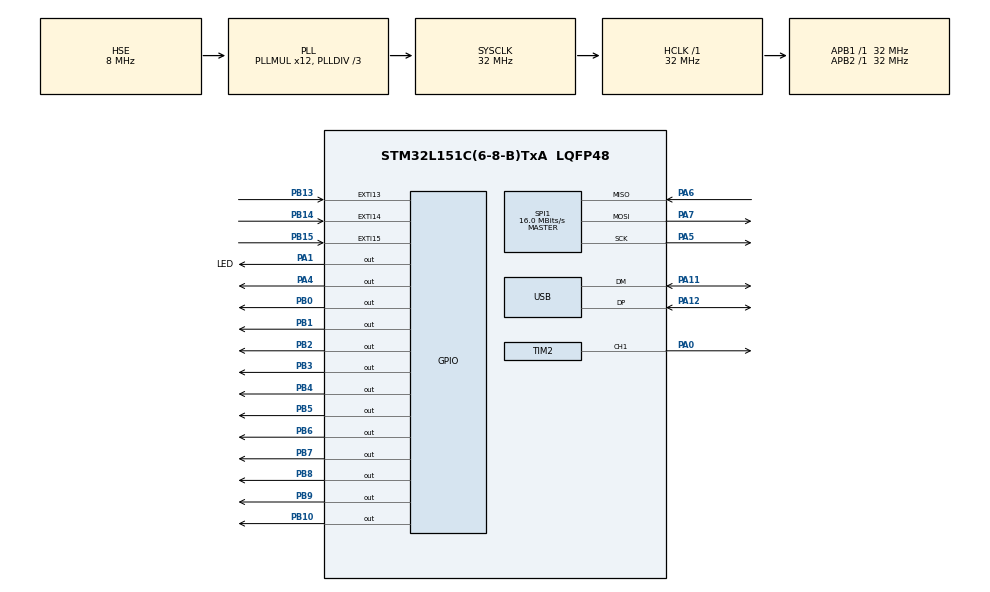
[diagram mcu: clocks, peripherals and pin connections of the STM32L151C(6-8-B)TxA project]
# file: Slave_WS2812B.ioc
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Dma.Request0=TIM2_CH1
Dma.TIM2_CH1.0.Direction=DMA_MEMORY_TO_PERIPH
Dma.TIM2_CH1.0.Instance=DMA1_Channel5
Dma.TIM2_CH1.0.MemDataAlignment=DMA_MDATAALIGN_HALFWORD
Dma.TIM2_CH1.0.MemInc=DMA_MINC_ENABLE
Dma.TIM2_CH1.0.Mode=DMA_NORMAL
Dma.TIM2_CH1.0.PeriphDataAlignment=DMA_PDATAALIGN_HALFWORD
Dma.TIM2_CH1.0.PeriphInc=DMA_PINC_DISABLE
Dma.TIM2_CH1.0.Priority=DMA_PRIORITY_LOW
Mcu.Family=STM32L1
Mcu.Name=STM32L151C(6-8-B)TxA
Mcu.Package=LQFP48
NVIC.DMA1_Channel5_IRQn=true\:0\:0\:false\:false\:true\:false\:true
NVIC.EXTI15_10_IRQn=true\:0\:0\:false\:false\:true\:true\:true
NVIC.PriorityGroup=NVIC_PRIORITYGROUP_4
NVIC.TIM11_IRQn=true\:1\:0\:true\:false\:true\:true\:true
NVIC.USB_LP_IRQn=true\:0\:0\:false\:false\:true\:false\:true
PA0-WKUP1.Signal=S_TIM2_CH1_ETR
PA1.GPIO_Label=LED
PA1.Signal=GPIO_Output
PA11.Mode=Device
PA11.Signal=USB_DM
PA12.Mode=Device
PA12.Signal=USB_DP
PA13.Mode=Serial_Wire
PA13.Signal=SYS_JTMS-SWDIO
PA14.Mode=Serial_Wire
PA14.Signal=SYS_JTCK-SWCLK
PA4.GPIO_Speed=GPIO_SPEED_FREQ_VERY_HIGH
PA4.Signal=GPIO_Output
PA5.Mode=Full_Duplex_Master
PA5.Signal=SPI1_SCK
PA6.Mode=Full_Duplex_Master
PA6.Signal=SPI1_MISO
PA7.Mode=Full_Duplex_Master
PA7.Signal=SPI1_MOSI
PB0.GPIO_Speed=GPIO_SPEED_FREQ_VERY_HIGH
PB0.Signal=GPIO_Output
PB1.GPIO_Speed=GPIO_SPEED_FREQ_VERY_HIGH
PB1.Signal=GPIO_Output
PB10.GPIO_Speed=GPIO_SPEED_FREQ_VERY_HIGH
PB10.Signal=GPIO_Output
PB13.GPIO_PuPd=GPIO_PULLDOWN
PB13.Signal=GPXTI13
PB14.GPIO_PuPd=GPIO_PULLDOWN
PB14.Signal=GPXTI14
PB15.GPIO_PuPd=GPIO_PULLDOWN
PB15.Signal=GPXTI15
PB2.GPIO_Speed=GPIO_SPEED_FREQ_VERY_HIGH
PB2.Signal=GPIO_Output
PB3.GPIO_Speed=GPIO_SPEED_FREQ_VERY_HIGH
PB3.Signal=GPIO_Output
PB4.GPIO_Speed=GPIO_SPEED_FREQ_VERY_HIGH
PB4.Signal=GPIO_Output
PB5.GPIO_Speed=GPIO_SPEED_FREQ_VERY_HIGH
PB5.Signal=GPIO_Output
PB6.GPIO_Speed=GPIO_SPEED_FREQ_VERY_HIGH
PB6.Signal=GPIO_Output
PB7.GPIO_Speed=GPIO_SPEED_FREQ_VERY_HIGH
PB7.Signal=GPIO_Output
PB8.GPIO_Speed=GPIO_SPEED_FREQ_VERY_HIGH
PB8.Signal=GPIO_Output
PB9.GPIO_Speed=GPIO_SPEED_FREQ_VERY_HIGH
PB9.PinState=GPIO_PIN_SET
PB9.Signal=GPIO_Output
PC14-OSC32_IN.Mode=LSE-External-Oscillator
PC14-OSC32_IN.Signal=RCC_OSC32_IN
PC15-OSC32_OUT.Mode=LSE-External-Oscillator
PC15-OSC32_OUT.Signal=RCC_OSC32_OUT
PH0-OSC_IN.Mode=HSE-External-Oscillator
PH0-OSC_IN.Signal=RCC_OSC_IN
PH1-OSC_OUT.Mode=HSE-External-Oscillator
PH1-OSC_OUT.Signal=RCC_OSC_OUT
ProjectManager.HeapSize=0x200
ProjectManager.StackSize=0x400
ProjectManager.TargetToolchain=MDK-ARM V5.27
RCC.48MHZClocksFreq_Value=48000000
RCC.AHBFreq_Value=32000000
RCC.APB1Freq_Value=32000000
RCC.APB1TimFreq_Value=32000000
RCC.APB2Freq_Value=32000000
RCC.APB2TimFreq_Value=32000000
RCC.HCLKFreq_Value=32000000
RCC.HSE_VALUE=8000000
RCC.HSI_VALUE=16000000
RCC.MSI_VALUE=2097000
RCC.PLLDIV=RCC_PLL_DIV3
RCC.PLLMUL=RCC_PLL_MUL12
RCC.SYSCLKFreq_VALUE=32000000
RCC.SYSCLKSource=RCC_SYSCLKSOURCE_PLLCLK
RCC.VCOOutputFreq_Value=96000000
SH.S_TIM2_CH1_ETR.0=TIM2_CH1,PWM Generation1 CH1
SPI1.CalculateBaudRate=16.0 MBits/s
SPI1.Direction=SPI_DIRECTION_2LINES
SPI1.Mode=SPI_MODE_MASTER
SPI1.VirtualType=VM_MASTER
TIM11.AutoReloadPreload=TIM_AUTORELOAD_PRELOAD_ENABLE
TIM11.Period=1000
TIM11.Prescaler=32000-1
TIM2.Channel-PWM\ Generation1\ CH1=TIM_CHANNEL_1
TIM2.Period=40-1
USB_DEVICE.CLASS_NAME_FS=CDC
USB_DEVICE.VirtualMode=Cdc
USB_DEVICE.VirtualModeFS=Cdc_FS
VP_TIM11_VS_ClockSourceINT.Mode=Internal
VP_USB_DEVICE_VS_USB_DEVICE_CDC_FS.Mode=CDC_FS
board=custom

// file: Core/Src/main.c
/* USER CODE BEGIN Header */
/**
  ******************************************************************************
  * @file           : main.c
  * @brief          : Main program body
  ******************************************************************************
  * @attention
  *
  * <h2><center>&copy; Copyright (c) 2020 STMicroelectronics.
  * All rights reserved.</center></h2>
  *
  * This software component is licensed by ST under Ultimate Liberty license
  * SLA0044, the "License"; You may not use this file except in compliance with
  * the License. You may obtain a copy of the License at:
  *                             www.st.com/SLA0044
  *
  ******************************************************************************
  */
/* USER CODE END Header */

#include "main.h"
#include "usb_device.h"

/* USER CODE BEGIN Includes */
#include <stdio.h>
#include <stdint.h>
#include <stdbool.h>
#include <string.h>
//#include "usbd_cdc_if.h"
#include "SX127X_Driver.h"
//#include "lcd.h"
//#include "gui.h"
//#include "dht11.h"
#include "colorset.h"
#include "ws2812b.h"
/* USER CODE END Includes */

/* USER CODE BEGIN PM */
enum DemoInternalStates
{
  APP_RNG = 0, // nothing to do (or wait a radio interrupt)
  RX_DONE,
  TX_DONE,
  TX_ING,
  APP_IDLE,
};
/* USER CODE END PM */

SPI_HandleTypeDef hspi1;

TIM_HandleTypeDef htim2;
TIM_HandleTypeDef htim11;
DMA_HandleTypeDef hdma_tim2_ch1;

/* USER CODE BEGIN PV */
uint8_t communication_states;
uint8_t RXbuffer[8] = {0};
uint32_t Fre[5] = {470800000, 494600000, 510000000, 868000000, 915000000};
/* USER CODE END PV */

void SystemClock_Config(void);
static void MX_GPIO_Init(void);
static void MX_DMA_Init(void);
static void MX_SPI1_Init(void);
static void MX_TIM11_Init(void);
static void MX_TIM2_Init(void);
/* USER CODE BEGIN PFP */
void MX_TIM11_Init_Ms(uint16_t time);
/* USER CODE END PFP */

int main(void)
{

  /* MCU Configuration--------------------------------------------------------*/

  /* Reset of all peripherals, Initializes the Flash interface and the Systick. */
  HAL_Init();

  /* Configure the system clock */
  SystemClock_Config();

  /* Initialize all configured peripherals */
  MX_GPIO_Init();
  MX_DMA_Init();
  MX_SPI1_Init();
  MX_TIM11_Init();
  MX_USB_DEVICE_Init();
  MX_TIM2_Init();
  /* USER CODE BEGIN 2 */
  G_LoRaConfig.LoRa_Freq = Fre[0];      //中心频率470MHz
  G_LoRaConfig.BandWidth = BW125KHZ;    //BW = 125KHz  BW125KHZ
  G_LoRaConfig.SpreadingFactor = SF09;  //SF = 9
  G_LoRaConfig.CodingRate = CR_4_6;     //CR = 4/6
  G_LoRaConfig.PowerCfig = 15;          //19±1dBm
  G_LoRaConfig.MaxPowerOn = true;       //最大功率开启
  G_LoRaConfig.CRCON = true;            //CRC校验开启
  G_LoRaConfig.ExplicitHeaderOn = true; //Header开启
  G_LoRaConfig.PayloadLength = 8;       //数据包长度

  while(1)
  {
    if(SX127X_Lora_init() == NORMAL)
    {
      break;
    }
  }

  DIO0_EnableInterrupt();
  SX127X_StartRx();
//  HAL_TIM_Base_Stop_IT(&htim11);
//  MX_TIM11_Init_Ms(2000);
//  HAL_TIM_Base_Start_IT(&htim11);
  HAL_TIM_PWM_Start(&htim2, TIM_CHANNEL_1);
  WS2812B_Init();
//  setAllPixelColor(0xff, 0xff, 0xff);
//  WS2812B_Show();
  /* USER CODE END 2 */

  /* Infinite loop */
  /* USER CODE BEGIN WHILE */
  while (1)
  {
    switch(communication_states)
    {
      case APP_IDLE:
        break;

      case TX_ING:
        break;

      case TX_DONE:
        HAL_Delay(50);
        DIO0_EnableInterrupt();
        SX127X_StartRx();
        communication_states = APP_IDLE;
        break;

      case RX_DONE:
        DIO0_DisableInterrupt();
        SX127X_RxPacket(RXbuffer);
        if(RXbuffer[0]==0x02)
        {
          setAllPixelColor(RXbuffer[1], RXbuffer[2], RXbuffer[3]);
          WS2812B_Show();
        }
        communication_states = TX_DONE;
    }
    /* USER CODE END WHILE */

  }
}

void SystemClock_Config(void)
{
  RCC_OscInitTypeDef RCC_OscInitStruct = {0};
  RCC_ClkInitTypeDef RCC_ClkInitStruct = {0};

  /** Configure the main internal regulator output voltage
  */
  __HAL_PWR_VOLTAGESCALING_CONFIG(PWR_REGULATOR_VOLTAGE_SCALE1);
  /** Initializes the CPU, AHB and APB busses clocks
  */
  RCC_OscInitStruct.OscillatorType = RCC_OSCILLATORTYPE_HSE;
  RCC_OscInitStruct.HSEState = RCC_HSE_ON;
  RCC_OscInitStruct.PLL.PLLState = RCC_PLL_ON;
  RCC_OscInitStruct.PLL.PLLSource = RCC_PLLSOURCE_HSE;
  RCC_OscInitStruct.PLL.PLLMUL = RCC_PLL_MUL12;
  RCC_OscInitStruct.PLL.PLLDIV = RCC_PLL_DIV3;
  if (HAL_RCC_OscConfig(&RCC_OscInitStruct) != HAL_OK)
  {
    Error_Handler();
  }
  /** Initializes the CPU, AHB and APB busses clocks
  */
  RCC_ClkInitStruct.ClockType = RCC_CLOCKTYPE_HCLK|RCC_CLOCKTYPE_SYSCLK
                              |RCC_CLOCKTYPE_PCLK1|RCC_CLOCKTYPE_PCLK2;
  RCC_ClkInitStruct.SYSCLKSource = RCC_SYSCLKSOURCE_PLLCLK;
  RCC_ClkInitStruct.AHBCLKDivider = RCC_SYSCLK_DIV1;
  RCC_ClkInitStruct.APB1CLKDivider = RCC_HCLK_DIV1;
  RCC_ClkInitStruct.APB2CLKDivider = RCC_HCLK_DIV1;

  if (HAL_RCC_ClockConfig(&RCC_ClkInitStruct, FLASH_LATENCY_1) != HAL_OK)
  {
    Error_Handler();
  }
}

static void MX_SPI1_Init(void)
{

  /* SPI1 parameter configuration*/
  hspi1.Instance = SPI1;
  hspi1.Init.Mode = SPI_MODE_MASTER;
  hspi1.Init.Direction = SPI_DIRECTION_2LINES;
  hspi1.Init.DataSize = SPI_DATASIZE_8BIT;
  hspi1.Init.CLKPolarity = SPI_POLARITY_LOW;
  hspi1.Init.CLKPhase = SPI_PHASE_1EDGE;
  hspi1.Init.NSS = SPI_NSS_SOFT;
  hspi1.Init.BaudRatePrescaler = SPI_BAUDRATEPRESCALER_2;
  hspi1.Init.FirstBit = SPI_FIRSTBIT_MSB;
  hspi1.Init.TIMode = SPI_TIMODE_DISABLE;
  hspi1.Init.CRCCalculation = SPI_CRCCALCULATION_DISABLE;
  hspi1.Init.CRCPolynomial = 10;
  if (HAL_SPI_Init(&hspi1) != HAL_OK)
  {
    Error_Handler();
  }

}

static void MX_TIM2_Init(void)
{

  TIM_MasterConfigTypeDef sMasterConfig = {0};
  TIM_OC_InitTypeDef sConfigOC = {0};

  htim2.Instance = TIM2;
  htim2.Init.Prescaler = 0;
  htim2.Init.CounterMode = TIM_COUNTERMODE_UP;
  htim2.Init.Period = 40-1;
  htim2.Init.ClockDivision = TIM_CLOCKDIVISION_DIV1;
  htim2.Init.AutoReloadPreload = TIM_AUTORELOAD_PRELOAD_DISABLE;
  if (HAL_TIM_PWM_Init(&htim2) != HAL_OK)
  {
    Error_Handler();
  }
  sMasterConfig.MasterOutputTrigger = TIM_TRGO_RESET;
  sMasterConfig.MasterSlaveMode = TIM_MASTERSLAVEMODE_DISABLE;
  if (HAL_TIMEx_MasterConfigSynchronization(&htim2, &sMasterConfig) != HAL_OK)
  {
    Error_Handler();
  }
  sConfigOC.OCMode = TIM_OCMODE_PWM1;
  sConfigOC.Pulse = 0;
  sConfigOC.OCPolarity = TIM_OCPOLARITY_HIGH;
  sConfigOC.OCFastMode = TIM_OCFAST_DISABLE;
  if (HAL_TIM_PWM_ConfigChannel(&htim2, &sConfigOC, TIM_CHANNEL_1) != HAL_OK)
  {
    Error_Handler();
  }
  HAL_TIM_MspPostInit(&htim2);

}

static void MX_TIM11_Init(void)
{

  TIM_ClockConfigTypeDef sClockSourceConfig = {0};

  htim11.Instance = TIM11;
  htim11.Init.Prescaler = 32000-1;
  htim11.Init.CounterMode = TIM_COUNTERMODE_UP;
  htim11.Init.Period = 1000;
  htim11.Init.ClockDivision = TIM_CLOCKDIVISION_DIV1;
  htim11.Init.AutoReloadPreload = TIM_AUTORELOAD_PRELOAD_ENABLE;
  if (HAL_TIM_Base_Init(&htim11) != HAL_OK)
  {
    Error_Handler();
  }
  sClockSourceConfig.ClockSource = TIM_CLOCKSOURCE_INTERNAL;
  if (HAL_TIM_ConfigClockSource(&htim11, &sClockSourceConfig) != HAL_OK)
  {
    Error_Handler();
  }

}

static void MX_DMA_Init(void)
{

  /* DMA controller clock enable */
  __HAL_RCC_DMA1_CLK_ENABLE();

  /* DMA interrupt init */
  /* DMA1_Channel5_IRQn interrupt configuration */
  HAL_NVIC_SetPriority(DMA1_Channel5_IRQn, 0, 0);
  HAL_NVIC_EnableIRQ(DMA1_Channel5_IRQn);

}

static void MX_GPIO_Init(void)
{
  GPIO_InitTypeDef GPIO_InitStruct = {0};

  /* GPIO Ports Clock Enable */
  __HAL_RCC_GPIOC_CLK_ENABLE();
  __HAL_RCC_GPIOH_CLK_ENABLE();
  __HAL_RCC_GPIOA_CLK_ENABLE();
  __HAL_RCC_GPIOB_CLK_ENABLE();

  /*Configure GPIO pin Output Level */
  HAL_GPIO_WritePin(GPIOA, LED_Pin|GPIO_PIN_4, GPIO_PIN_RESET);

  /*Configure GPIO pin Output Level */
  HAL_GPIO_WritePin(GPIOB, GPIO_PIN_0|GPIO_PIN_1|GPIO_PIN_2|GPIO_PIN_10
                          |GPIO_PIN_3|GPIO_PIN_4|GPIO_PIN_5|GPIO_PIN_6
                          |GPIO_PIN_7|GPIO_PIN_8, GPIO_PIN_RESET);

  /*Configure GPIO pin Output Level */
  HAL_GPIO_WritePin(GPIOB, GPIO_PIN_9, GPIO_PIN_SET);

  /*Configure GPIO pin : LED_Pin */
  GPIO_InitStruct.Pin = LED_Pin;
  GPIO_InitStruct.Mode = GPIO_MODE_OUTPUT_PP;
  GPIO_InitStruct.Pull = GPIO_NOPULL;
  GPIO_InitStruct.Speed = GPIO_SPEED_FREQ_LOW;
  HAL_GPIO_Init(LED_GPIO_Port, &GPIO_InitStruct);

  /*Configure GPIO pin : PA4 */
  GPIO_InitStruct.Pin = GPIO_PIN_4;
  GPIO_InitStruct.Mode = GPIO_MODE_OUTPUT_PP;
  GPIO_InitStruct.Pull = GPIO_NOPULL;
  GPIO_InitStruct.Speed = GPIO_SPEED_FREQ_VERY_HIGH;
  HAL_GPIO_Init(GPIOA, &GPIO_InitStruct);

  /*Configure GPIO pins : PB0 PB1 PB2 PB10
                           PB3 PB4 PB5 PB6
                           PB7 PB8 PB9 */
  GPIO_InitStruct.Pin = GPIO_PIN_0|GPIO_PIN_1|GPIO_PIN_2|GPIO_PIN_10
                          |GPIO_PIN_3|GPIO_PIN_4|GPIO_PIN_5|GPIO_PIN_6
                          |GPIO_PIN_7|GPIO_PIN_8|GPIO_PIN_9;
  GPIO_InitStruct.Mode = GPIO_MODE_OUTPUT_PP;
  GPIO_InitStruct.Pull = GPIO_NOPULL;
  GPIO_InitStruct.Speed = GPIO_SPEED_FREQ_VERY_HIGH;
  HAL_GPIO_Init(GPIOB, &GPIO_InitStruct);

  /*Configure GPIO pins : PB13 PB14 PB15 */
  GPIO_InitStruct.Pin = GPIO_PIN_13|GPIO_PIN_14|GPIO_PIN_15;
  GPIO_InitStruct.Mode = GPIO_MODE_IT_RISING;
  GPIO_InitStruct.Pull = GPIO_PULLDOWN;
  HAL_GPIO_Init(GPIOB, &GPIO_InitStruct);

  /* EXTI interrupt init*/
  HAL_NVIC_SetPriority(EXTI15_10_IRQn, 0, 0);
  HAL_NVIC_EnableIRQ(EXTI15_10_IRQn);

}

/* USER CODE BEGIN 4 */
void MX_TIM11_Init_Ms(uint16_t time)
{
  TIM_ClockConfigTypeDef sClockSourceConfig;
  TIM_MasterConfigTypeDef sMasterConfig;

  htim11.Instance = TIM11;
  htim11.Init.Prescaler = 32000-1;
  htim11.Init.CounterMode = TIM_COUNTERMODE_UP;
  htim11.Init.Period = time-1;
  htim11.Init.ClockDivision = TIM_CLOCKDIVISION_DIV1;
  if (HAL_TIM_Base_Init(&htim11) != HAL_OK)
  {
    return;
  }

  sClockSourceConfig.ClockSource = TIM_CLOCKSOURCE_INTERNAL;
  if (HAL_TIM_ConfigClockSource(&htim11, &sClockSourceConfig) != HAL_OK)
  {
    return;
  }

  sMasterConfig.MasterOutputTrigger = TIM_TRGO_RESET;
  sMasterConfig.MasterSlaveMode = TIM_MASTERSLAVEMODE_DISABLE;
  if (HAL_TIMEx_MasterConfigSynchronization(&htim11, &sMasterConfig) != HAL_OK)
  {
    return;
  }
}

void HAL_GPIO_EXTI_Callback(uint16_t GPIO_Pin)
{
  if(DIO0_GetState() == GPIO_PIN_SET)
  {
    uint8_t flag;
    SX127X_Read(REG_LR_IRQFLAGS, &flag);
    SX127X_Write(REG_LR_IRQFLAGS, 0xff); //clear flags
    if(flag & RFLR_IRQFLAGS_TXDONE)
    {
      communication_states = TX_DONE;
    }
    else
    {
      if(flag & RFLR_IRQFLAGS_RXDONE)
      {
        communication_states = RX_DONE;
      }
      else
      {
        DIO0_EnableInterrupt();
        SX127X_StartRx();
      }
    }
  }
}

//void HAL_TIM_PeriodElapsedCallback(TIM_HandleTypeDef *htim)
//{
//  communication_states = TX_ING;
//  HAL_GPIO_TogglePin(GPIOA,GPIO_PIN_1);
//}

void HAL_TIM_PWM_PulseFinishedCallback(TIM_HandleTypeDef *htim)
{
  if(htim==&htim2)
  {
    HAL_TIM_PWM_Stop(&htim2, TIM_CHANNEL_1);
    HAL_GPIO_TogglePin(GPIOA, GPIO_PIN_1);
  }
}
/* USER CODE END 4 */

void Error_Handler(void)
{
}

/************************ (C) COPYRIGHT STMicroelectronics *****END OF FILE****/
